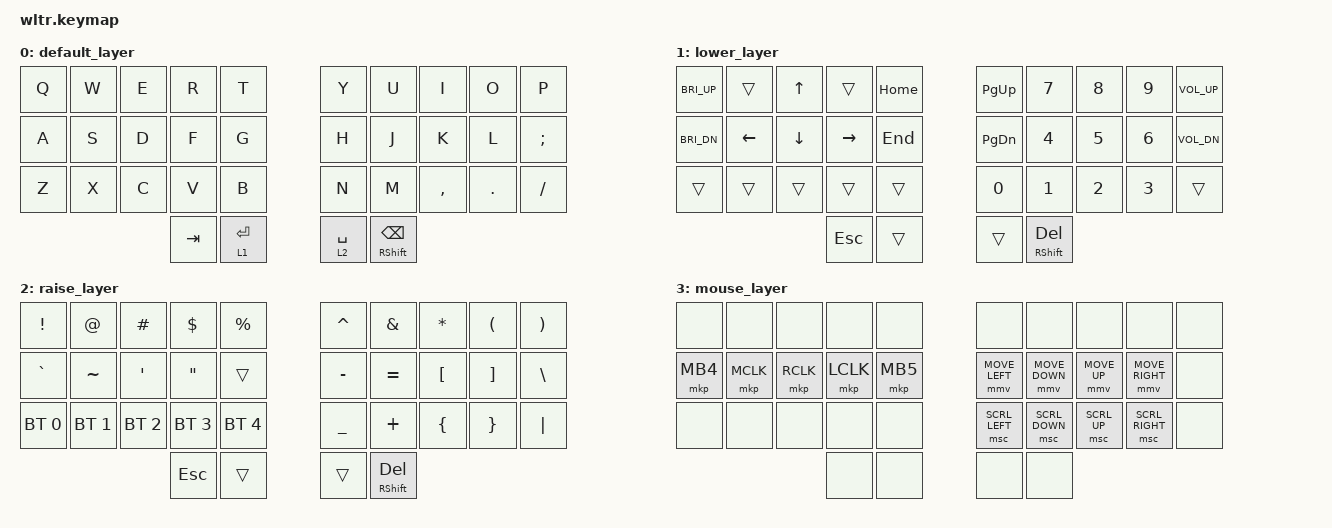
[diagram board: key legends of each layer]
#define ZMK_POINTING_DEFAULT_MOVE_VAL 1200  // default: 600
#define ZMK_POINTING_DEFAULT_SCRL_VAL 20    // default: 10

#include <behaviors.dtsi>
#include <dt-bindings/zmk/keys.h>
#include <dt-bindings/zmk/bt.h>
#include <dt-bindings/zmk/pointing.h>

&mt {
  flavor = "tap-preferred";
  tapping-term-ms = <170>;
  quick-tap-ms = <170>;
};

&lt {
  tapping-term-ms = <170>;
  quick-tap-ms = <170>;
};

&mmv {
  time-to-max-speed-ms = <500>;
  acceleration-exponent = <2>;
};

&msc {
  time-to-max-speed-ms = <500>;
  acceleration-exponent = <1>;
};

/ {
  combos {
    compatible = "zmk,combos";
    combo_lcmd {
      timeout-ms = <50>;
      require-prior-idle-ms = <100>;
      key-positions = <1 2>;
      bindings = <&kp LCMD>;
      layers = <0 1 2>;
    };
    combo_lctrl {
      timeout-ms = <50>;
      require-prior-idle-ms = <100>;
      key-positions = <11 12>;
      bindings = <&kp LCTRL>;
      layers = <0 1 2>;
    };
    combo_lalt {
      timeout-ms = <50>;
      require-prior-idle-ms = <100>;
      key-positions = <21 22>;
      bindings = <&kp LALT>;
      layers = <0 1 2>;
    };
    combo_rcmd {
      timeout-ms = <50>;
      require-prior-idle-ms = <100>;
      key-positions = <7 8>;
      bindings = <&kp RCMD>;
      layers = <0 1 2>;
    };
    combo_rctrl {
      timeout-ms = <50>;
      require-prior-idle-ms = <100>;
      key-positions = <17 18>;
      bindings = <&kp RCTRL>;
      layers = <0 1 2>;
    };
    combo_ralt {
      timeout-ms = <50>;
      require-prior-idle-ms = <100>;
      key-positions = <27 28>;
      bindings = <&kp RALT>;
      layers = <0 1 2>;
    };
    combo_mouse {
      timeout-ms = <50>;
      require-prior-idle-ms = <100>;
      key-positions = <31 32>;
      bindings = <&tog 3>;
    };
    combo_bt_clr {
      timeout-ms = <50>;
      require-prior-idle-ms = <100>;
      key-positions = <12 13>;
      bindings = <&bt BT_CLR>;
      layers = <2>;
    };
  };
};

/ {
  keymap {
    compatible = "zmk,keymap";
    default_layer {
// -------------------------------------------------------------------
// |  Q  |  W  |  E  |  R  |  T  |     |  Y  |  U  |  I  |  O  |  P  |
// |  A  |  S  |  D  |  F  |  G  |     |  H  |  J  |  K  |  L  |  ;  |
// |  Z  |  X  |  C  |  V  |  B  |     |  N  |  M  |  ,  |  .  |  /  |
// |                 | TAB | RET |     | SPC | BSPC|                 |
// -------------------------------------------------------------------
bindings = <
  &kp Q &kp W &kp E &kp R &kp T &kp Y &kp U &kp I &kp O &kp P
  &kp A &kp S &kp D &kp F &kp G &kp H &kp J &kp K &kp L &kp SEMI
  &kp Z &kp X &kp C &kp V &kp B &kp N &kp M &kp COMMA &kp DOT &kp FSLH
  &kp TAB &lt 1 RET &lt 2 SPACE &mt RSHFT BSPC
>;
    };
    lower_layer {
// -------------------------------------------------------------------
// |BRIUP|     |  UP |     | HOME|     | PGUP|  7  |  8  |  9  |VOLUP|
// |BRIDN| LFT | DWN | RGT | END |     | PGDN|  4  |  5  |  6  |VOLDN|
// |     |     |     |     |     |     |  0  |  1  |  2  |  3  |     |
// |                 | ESC |     |     |     | DEL |                 |
// -------------------------------------------------------------------
bindings = <
  &kp C_BRI_UP &trans &kp UP &trans &kp HOME &kp PG_UP &kp N7 &kp N8 &kp N9 &kp C_VOL_UP
  &kp C_BRI_DN &kp LEFT &kp DOWN &kp RIGHT &kp END &kp PG_DN &kp N4 &kp N5 &kp N6 &kp C_VOL_DN
  &trans &trans &trans &trans &trans &kp N0 &kp N1 &kp N2 &kp N3 &trans
  &kp ESC &trans &trans &mt RSHFT DEL
>;
    };
    raise_layer {
// -------------------------------------------------------------------
// |  !  |  @  |  #  |  $  |  %  |     |  ^  |  &  |  *  |  (  |  )  |
// |  `  |  ~  |  '  |  "  |     |     |  -  |  =  |  [  |  ]  |  \  |
// | BT0 | BT1 | BT2 | BT3 | BT4 |     |  _  |  +  |  {  |  }  | "|" |
// |                 | ESC |     |     |     | DEL |                 |
// -------------------------------------------------------------------
bindings = <
  &kp EXCL &kp AT &kp HASH &kp DLLR &kp PRCNT &kp CARET &kp AMPS &kp ASTRK &kp LPAR &kp RPAR
  &kp GRAVE &kp TILDE &kp SQT &kp DQT &trans &kp MINUS &kp EQUAL &kp LBKT &kp RBKT &kp BSLH
  &bt BT_SEL 0 &bt BT_SEL 1 &bt BT_SEL 2 &bt BT_SEL 3 &bt BT_SEL 4 &kp UNDER &kp PLUS &kp LBRC &kp RBRC &kp PIPE
  &kp ESC &trans &trans &mt RSHFT DEL
>;
    };
    mouse_layer {
// -------------------------------------------------------------------
// |     |     |     |     |     |     |     |     |     |     |     |
// | MB4 | MCLK| RCLK| LCLK| MB5 |     | LFT | DWN |  UP | RGT |     |
// |     |     |     |     |     |     | SLFT| SDWN| SUP | SRGT|     |
// |                 |     |     |     |     |     |                 |
// -------------------------------------------------------------------
bindings = <
  &none &none &none &none &none &none &none &none &none &none
  &mkp MB4 &mkp MCLK &mkp RCLK &mkp LCLK &mkp MB5 &mmv MOVE_LEFT &mmv MOVE_DOWN &mmv MOVE_UP &mmv MOVE_RIGHT &none
  &none &none &none &none &none &msc SCRL_LEFT &msc SCRL_DOWN &msc SCRL_UP &msc SCRL_RIGHT &none
  &none &none &none &none
>;
    };
  };
};
